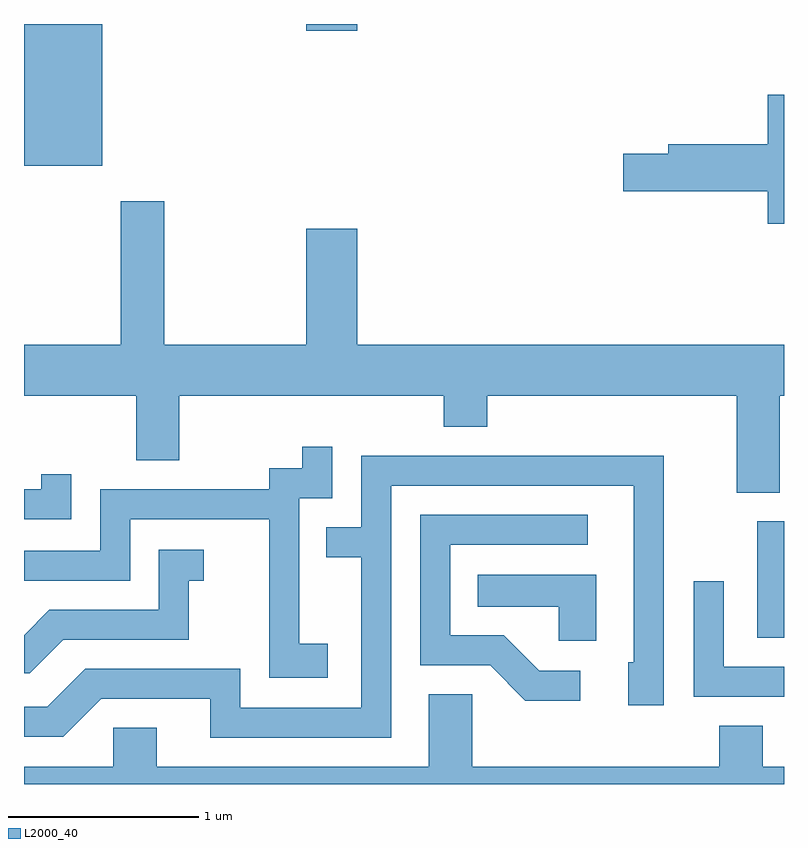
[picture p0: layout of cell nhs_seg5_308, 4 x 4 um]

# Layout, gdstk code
import gdstk
lib = gdstk.Library(unit=1e-6, precision=1e-09)
def R(c, l, rs):  # rectangles x0, y0, x1, y1
    for r in rs: c.add(gdstk.rectangle(r[:2], r[2:], *l))
def P(c, l, *ps):  # polygons
    for p in ps: c.add(gdstk.Polygon(p, *l))
L2000_40 = (2000, 40)

nhs_seg5_308 = lib.new_cell('nhs_seg5_308')
R(nhs_seg5_308, L2000_40, [(197.471,1468.841,197.611,1469.454), (193.611,1471.326,194.024,1472.072), (195.096,1472.036,195.364,1472.072)])
P(nhs_seg5_308, L2000_40, [(197.611,1471.699),(197.526,1471.699),(197.526,1471.439),(197.001,1471.439),(197.001,1471.389),(196.766,1471.389),(196.766,1471.191),(197.526,1471.191),(197.526,1471.021),(197.611,1471.021)],
  [(197.589,1470.116),(197.611,1470.116),(197.611,1470.384),(195.364,1470.384),(195.364,1470.994),(195.096,1470.994),(195.096,1470.384),(194.349,1470.384),(194.349,1471.139),(194.121,1471.139),(194.121,1470.384),(193.611,1470.384),(193.611,1470.116),(194.201,1470.116),(194.201,1469.776),(194.429,1469.776),(194.429,1470.116),(195.821,1470.116),(195.821,1469.951),(196.049,1469.951),(196.049,1470.116),(197.361,1470.116),(197.361,1469.606),(197.589,1469.606)],
  [(195.209,1468.809),(195.059,1468.809),(195.059,1469.576),(195.234,1469.576),(195.234,1469.848),(195.076,1469.848),(195.076,1469.734),(194.901,1469.734),(194.901,1469.624),(194.011,1469.624),(194.011,1469.299),(193.611,1469.299),(193.611,1469.141),(194.169,1469.141),(194.169,1469.466),(194.901,1469.466),(194.901,1468.631),(195.209,1468.631)],
  [(195.544,1469.641),(196.821,1469.641),(196.821,1468.714),(196.791,1468.714),(196.791,1468.486),(196.979,1468.486),(196.979,1469.799),(195.386,1469.799),(195.386,1469.424),(195.203,1469.424),(195.203,1469.266),(195.386,1469.266),(195.386,1468.474),(194.749,1468.474),(194.749,1468.679),(193.934,1468.679),(193.734,1468.479),(193.611,1468.479),(193.611,1468.321),(193.817,1468.321),(194.017,1468.521),(194.591,1468.521),(194.591,1468.316),(195.544,1468.316)],
  [(193.859,1469.703),(193.701,1469.703),(193.701,1469.624),(193.611,1469.624),(193.611,1469.466),(193.859,1469.466)],
  [(196.538,1468.669),(196.322,1468.669),(196.137,1468.854),(195.854,1468.854),(195.854,1469.331),(196.578,1469.331),(196.578,1469.489),(195.696,1469.489),(195.696,1468.696),(196.064,1468.696),(196.249,1468.511),(196.538,1468.511)],
  [(193.817,1468.831),(194.479,1468.831),(194.479,1469.141),(194.558,1469.141),(194.558,1469.304),(194.321,1469.304),(194.321,1468.989),(193.744,1468.989),(193.611,1468.856),(193.611,1468.656),(193.642,1468.656)],
  [(196.624,1469.174),(195.998,1469.174),(195.998,1469.006),(196.426,1469.006),(196.426,1468.826),(196.624,1468.826)],
  [(197.611,1468.689),(197.294,1468.689),(197.294,1469.138),(197.136,1469.138),(197.136,1468.531),(197.611,1468.531)],
  [(197.611,1468.164),(197.499,1468.164),(197.499,1468.379),(197.271,1468.379),(197.271,1468.164),(195.969,1468.164),(195.969,1468.544),(195.741,1468.544),(195.741,1468.164),(194.309,1468.164),(194.309,1468.369),(194.081,1468.369),(194.081,1468.164),(193.611,1468.164),(193.611,1468.072),(197.611,1468.072)])

lib.write_gds('nhs_seg5_308.gds')
